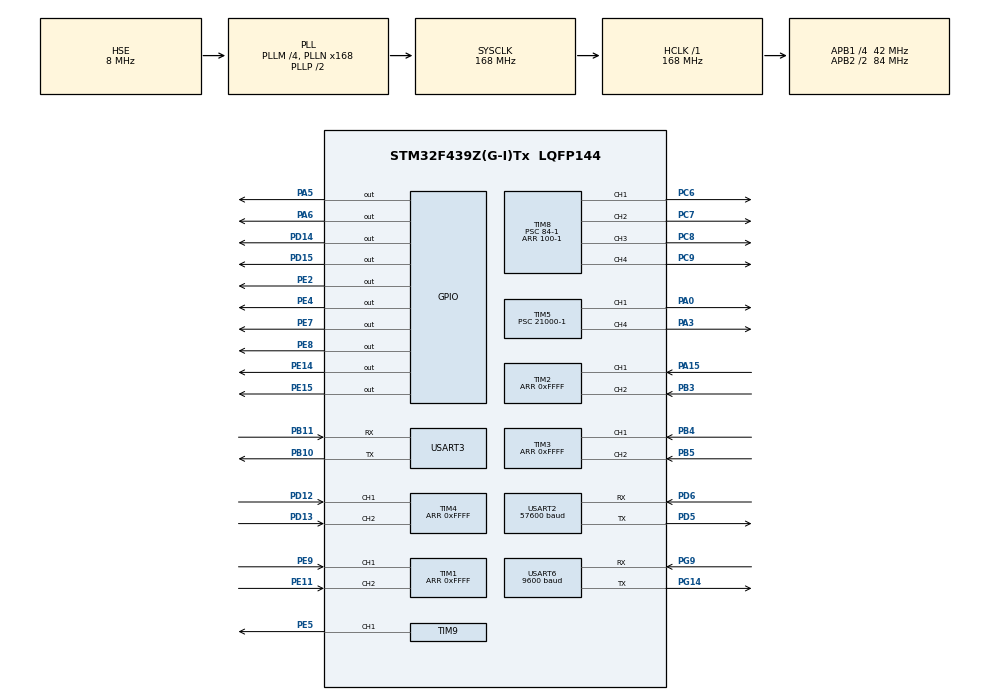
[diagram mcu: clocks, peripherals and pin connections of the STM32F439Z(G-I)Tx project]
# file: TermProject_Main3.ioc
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Mcu.Family=STM32F4
Mcu.Name=STM32F439Z(G-I)Tx
Mcu.Package=LQFP144
NVIC.PriorityGroup=NVIC_PRIORITYGROUP_4
NVIC.TIM1_BRK_TIM9_IRQn=true\:0\:0\:false\:true\:true\:2\:true\:true\:true
NVIC.TIM7_IRQn=true\:0\:0\:false\:true\:true\:5\:true\:true\:true
NVIC.USART2_IRQn=true\:0\:0\:false\:true\:true\:3\:true\:true\:true
NVIC.USART3_IRQn=true\:0\:0\:false\:true\:true\:4\:true\:true\:true
NVIC.USART6_IRQn=true\:0\:0\:false\:false\:true\:true\:true\:true
PA0/WKUP.Signal=S_TIM5_CH1
PA13.Mode=Serial_Wire
PA13.Signal=SYS_JTMS-SWDIO
PA14.Mode=Serial_Wire
PA14.Signal=SYS_JTCK-SWCLK
PA15.Signal=S_TIM2_CH1_ETR
PA3.Signal=S_TIM5_CH4
PA5.GPIO_Speed=GPIO_SPEED_FREQ_HIGH
PA5.Signal=GPIO_Output
PA6.GPIO_ModeDefaultOutputPP=GPIO_MODE_OUTPUT_PP
PA6.GPIO_PuPd=GPIO_NOPULL
PA6.GPIO_Speed=GPIO_SPEED_FREQ_HIGH
PA6.PinState=GPIO_PIN_RESET
PA6.Signal=GPIO_Output
PB10.Mode=Asynchronous
PB10.Signal=USART3_TX
PB11.Mode=Asynchronous
PB11.Signal=USART3_RX
PB3.Signal=S_TIM2_CH2
PB4.Signal=S_TIM3_CH1
PB5.Signal=S_TIM3_CH2
PC6.Signal=S_TIM8_CH1
PC7.Signal=S_TIM8_CH2
PC8.Signal=S_TIM8_CH3
PC9.Signal=S_TIM8_CH4
PD12.Signal=S_TIM4_CH1
PD13.Signal=S_TIM4_CH2
PD14.GPIO_ModeDefaultOutputPP=GPIO_MODE_OUTPUT_PP
PD14.GPIO_PuPd=GPIO_NOPULL
PD14.GPIO_Speed=GPIO_SPEED_FREQ_HIGH
PD14.PinState=GPIO_PIN_RESET
PD14.Signal=GPIO_Output
PD15.GPIO_ModeDefaultOutputPP=GPIO_MODE_OUTPUT_PP
PD15.GPIO_PuPd=GPIO_NOPULL
PD15.GPIO_Speed=GPIO_SPEED_FREQ_HIGH
PD15.PinState=GPIO_PIN_RESET
PD15.Signal=GPIO_Output
PD5.Mode=Asynchronous
PD5.Signal=USART2_TX
PD6.Mode=Asynchronous
PD6.Signal=USART2_RX
PE11.Signal=S_TIM1_CH2
PE14.GPIO_ModeDefaultOutputPP=GPIO_MODE_OUTPUT_PP
PE14.GPIO_PuPd=GPIO_NOPULL
PE14.GPIO_Speed=GPIO_SPEED_FREQ_HIGH
PE14.PinState=GPIO_PIN_RESET
PE14.Signal=GPIO_Output
PE15.GPIO_ModeDefaultOutputPP=GPIO_MODE_OUTPUT_PP
PE15.GPIO_PuPd=GPIO_NOPULL
PE15.GPIO_Speed=GPIO_SPEED_FREQ_HIGH
PE15.PinState=GPIO_PIN_RESET
PE15.Signal=GPIO_Output
PE2.GPIO_Speed=GPIO_SPEED_FREQ_HIGH
PE2.Signal=GPIO_Output
PE4.GPIO_Speed=GPIO_SPEED_FREQ_HIGH
PE4.Signal=GPIO_Output
PE5.Signal=S_TIM9_CH1
PE7.GPIO_ModeDefaultOutputPP=GPIO_MODE_OUTPUT_PP
PE7.GPIO_PuPd=GPIO_NOPULL
PE7.GPIO_Speed=GPIO_SPEED_FREQ_HIGH
PE7.PinState=GPIO_PIN_RESET
PE7.Signal=GPIO_Output
PE8.GPIO_ModeDefaultOutputPP=GPIO_MODE_OUTPUT_PP
PE8.GPIO_PuPd=GPIO_NOPULL
PE8.GPIO_Speed=GPIO_SPEED_FREQ_HIGH
PE8.PinState=GPIO_PIN_RESET
PE8.Signal=GPIO_Output
PE9.Signal=S_TIM1_CH1
PG14.Mode=Asynchronous
PG14.Signal=USART6_TX
PG9.Mode=Asynchronous
PG9.Signal=USART6_RX
PH0/OSC_IN.Mode=HSE-External-Clock-Source
PH0/OSC_IN.Signal=RCC_OSC_IN
PH1/OSC_OUT.Mode=HSE-External-Clock-Source
PH1/OSC_OUT.Signal=RCC_OSC_OUT
ProjectManager.HeapSize=0x200
ProjectManager.StackSize=0x400
ProjectManager.TargetToolchain=STM32CubeIDE
RCC.48MHZClocksFreq_Value=48000000
RCC.AHBFreq_Value=168000000
RCC.APB1CLKDivider=RCC_HCLK_DIV4
RCC.APB1Freq_Value=42000000
RCC.APB1TimFreq_Value=84000000
RCC.APB2CLKDivider=RCC_HCLK_DIV2
RCC.APB2Freq_Value=84000000
RCC.APB2TimCLKDivider=2
RCC.APB2TimFreq_Value=168000000
RCC.CortexFreq_Value=168000000
RCC.HCLKFreq_Value=168000000
RCC.HSE_VALUE=8000000
RCC.HSI_VALUE=16000000
RCC.LSE_VALUE=32768
RCC.PLLM=4
RCC.PLLMUL=RCC_PLL_MUL9
RCC.PLLN=168
RCC.PLLQ=7
RCC.PLLSourceVirtual=RCC_PLLSOURCE_HSE
RCC.PRESCALERUSB=RCC_USBCLKSOURCE_PLL_DIV1_5
RCC.SYSCLKFreq_VALUE=168000000
RCC.SYSCLKSource=RCC_SYSCLKSOURCE_PLLCLK
RCC.SYSCLKSourceVirtual=RCC_SYSCLKSOURCE_PLLCLK
RCC.USBFreq_Value=48000000
RCC.VCOOutputFreq_Value=336000000
SH.S_TIM1_CH1.0=TIM1_CH1,Encoder_Interface
SH.S_TIM1_CH2.0=TIM1_CH2,Encoder_Interface
SH.S_TIM2_CH1_ETR.0=TIM2_CH1,Encoder_Interface
SH.S_TIM2_CH2.0=TIM2_CH2,Encoder_Interface
SH.S_TIM3_CH1.0=TIM3_CH1,Encoder_Interface
SH.S_TIM3_CH2.0=TIM3_CH2,Encoder_Interface
SH.S_TIM4_CH1.0=TIM4_CH1,Encoder_Interface
SH.S_TIM4_CH2.0=TIM4_CH2,Encoder_Interface
SH.S_TIM5_CH1.0=TIM5_CH1,PWM Generation1 CH1
SH.S_TIM5_CH4.0=TIM5_CH4,PWM Generation4 CH4
SH.S_TIM8_CH1.0=TIM8_CH1,PWM Generation1 CH1
SH.S_TIM8_CH2.0=TIM8_CH2,PWM Generation2 CH2
SH.S_TIM8_CH3.0=TIM8_CH3,PWM Generation3 CH3
SH.S_TIM8_CH4.0=TIM8_CH4,PWM Generation4 CH4
SH.S_TIM9_CH1.0=TIM9_CH1,Output Compare1 CH1
TIM1.EncoderMode=TIM_ENCODERMODE_TI12
TIM1.Period=0xFFFF
TIM2.EncoderMode=TIM_ENCODERMODE_TI12
TIM2.Period=0xFFFF
TIM3.EncoderMode=TIM_ENCODERMODE_TI12
TIM3.Period=0xFFFF
TIM4.EncoderMode=TIM_ENCODERMODE_TI12
TIM4.Period=0xFFFF
TIM5.Channel-PWM\ Generation1\ CH1=TIM_CHANNEL_1
TIM5.Channel-PWM\ Generation4\ CH4=TIM_CHANNEL_4
TIM5.Period=80-1
TIM5.Prescaler=21000-1
TIM5.Pulse-PWM\ Generation1\ CH1=6
TIM5.Pulse-PWM\ Generation4\ CH4=6
TIM7.Period=1000-1
TIM7.Prescaler=84-1
TIM8.Channel-PWM\ Generation1\ CH1=TIM_CHANNEL_1
TIM8.Channel-PWM\ Generation2\ CH2=TIM_CHANNEL_2
TIM8.Channel-PWM\ Generation3\ CH3=TIM_CHANNEL_3
TIM8.Channel-PWM\ Generation4\ CH4=TIM_CHANNEL_4
TIM8.Period=100-1
TIM8.Prescaler=84-1
TIM9.Channel-Output\ Compare1\ CH1=TIM_CHANNEL_1
TIM9.OCMode_1=TIM_OCMODE_TOGGLE
TIM9.Period=180-1
TIM9.Prescaler=168-1
USART2.BaudRate=57600
USART2.VirtualMode=VM_ASYNC
USART3.VirtualMode=VM_ASYNC
USART6.BaudRate=9600
USART6.VirtualMode=VM_ASYNC
VP_TIM5_VS_ClockSourceINT.Mode=Internal
VP_TIM7_VS_ClockSourceINT.Mode=Enable_Timer
VP_TIM8_VS_ClockSourceINT.Mode=Internal
VP_TIM9_VS_ClockSourceINT.Mode=Internal
board=NUCLEO-F439ZI

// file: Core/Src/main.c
/* USER CODE BEGIN Header */
/**
  ******************************************************************************
  * @file           : main.c
  * @brief          : Main program body
  ******************************************************************************
  * @attention
  *
  * Copyright (c) 2025 STMicroelectronics.
  * All rights reserved.
  *
  * This software is licensed under terms that can be found in the LICENSE file
  * in the root directory of this software component.
  * If no LICENSE file comes with this software, it is provided AS-IS.
  *
  ******************************************************************************
  */
/* USER CODE END Header */
#include "main.h"

/* USER CODE BEGIN Includes */
#include "UART.h"
#include "B_MOTOR.h"
#include "STEP_MOTOR.h"
/* USER CODE END Includes */

TIM_HandleTypeDef htim1;
TIM_HandleTypeDef htim2;
TIM_HandleTypeDef htim3;
TIM_HandleTypeDef htim4;
TIM_HandleTypeDef htim5;
TIM_HandleTypeDef htim7;
TIM_HandleTypeDef htim8;
TIM_HandleTypeDef htim9;

UART_HandleTypeDef huart2;
UART_HandleTypeDef huart3;
UART_HandleTypeDef huart6;

/* USER CODE BEGIN PV */
uint8_t num = 0;
// 통신 변수 (1회성)
uint8_t temp = 1;
// 블루투스 통신 변수
uint8_t rxbuffer[20];
uint8_t txbuffer[200];

// 거리 센서 변수
uint8_t uart[9];		// 거리 센서 데이터
uint16_t dist;			// 현재 거리 값
uint16_t goaldist;	// 목표 거리 값
int32_t d_error;		// 현재 거리 - 목표 거리
int32_t ticks;			// 이동 엔코더 값
uint16_t strength;
uint8_t check;

/* USER CODE END PV */

void SystemClock_Config(void);
static void MX_GPIO_Init(void);
static void MX_TIM8_Init(void);
static void MX_TIM1_Init(void);
static void MX_TIM2_Init(void);
static void MX_TIM3_Init(void);
static void MX_TIM4_Init(void);
static void MX_TIM9_Init(void);
static void MX_TIM7_Init(void);
static void MX_USART3_UART_Init(void);
static void MX_USART2_UART_Init(void);
static void MX_TIM5_Init(void);
static void MX_USART6_UART_Init(void);
static void MX_NVIC_Init(void);
/* USER CODE BEGIN PFP */
void routine_move(bool encoder_use);
void routine_slide();
bool routine_wait_for_data(uint8_t data_size);

void HAL_TIM_PeriodElapsedCallback(TIM_HandleTypeDef *htim)
{
	if (htim->Instance == TIM7) {
		B_MOTOR_ReadEncoder();
		T_MOTOR_ReadEncoder();
	}
}

void HAL_TIM_OC_DelayElapsedCallback(TIM_HandleTypeDef *htim) {
	if (htim->Instance == TIM9) {
		slide.motor.current_steps++;  // 현재 스텝 증가

		if (slide.motor.current_steps >= slide.motor.total_steps) {
			STEP_MOTOR_STOP();       		// 목표 도달 → 모터 정지
		}
	}
}

void HAL_UART_RxCpltCallback(UART_HandleTypeDef *huart){
	// 블루투스 함ㅅ
	if (huart->Instance == USART6)
	{
		switch(rxbuffer[0]){
			case '0':
				sprintf((char *)txbuffer, "currentStep: %d\r\n", currentStep);
				HAL_UART_Transmit_IT(&huart6, (uint8_t *)txbuffer, strlen((char *)txbuffer));
				break;

			case '1':
				UART_Transmit_EPS32("2");	// 로봇 리프트 상층 중 신호 송신
				sprintf((char *)txbuffer, "send 2\r\n");
				HAL_UART_Transmit_IT(&huart6, (uint8_t *)txbuffer, strlen((char *)txbuffer));
				break;

			case '2':
				UART_Transmit_EPS32("3");	// 로봇 리프트 상층 중 신호 송신
				sprintf((char *)txbuffer, "send 3\r\n");
				HAL_UART_Transmit_IT(&huart6, (uint8_t *)txbuffer, strlen((char *)txbuffer));
				break;

			case '3':
				UART_Transmit_EPS32("4");	// 로봇 리프트 상층 중 신호 송신
				sprintf((char *)txbuffer, "send 4\r\n");
				HAL_UART_Transmit_IT(&huart6, (uint8_t *)txbuffer, strlen((char *)txbuffer));
				break;

			case '4':
				currentStep++;
				sprintf((char *)txbuffer, "next\r\n");
				HAL_UART_Transmit_IT(&huart6, (uint8_t *)txbuffer, strlen((char *)txbuffer));
				break;

			case '5':
				break;

			case '6':
				sprintf((char *)txbuffer, "dist: %3d\r\n", dist);
				HAL_UART_Transmit_IT(&huart6, (uint8_t *)txbuffer, strlen((char *)txbuffer));
				break;

			default:
				HAL_UART_Receive_IT(&huart6, rxbuffer, 3);
				break;
		}

		HAL_UART_Receive_IT(&huart6, rxbuffer, 3);
	}

	// 거리 센서 함수
	if (huart->Instance == USART3){
		if (uart[0] == 0x59 && uart[1] == 0x59){
			check = 0;
			for (int i=0; i<8; i++) check += uart[i];

			if (uart[8] == (check & 0xFF))
			{
				dist = uart[2] + (uart[3]<<8);
				strength = uart[4] + (uart[5]<<8);
			}
		}

		HAL_UART_Receive_IT(&huart3, uart, 9);
	}
}
/* USER CODE END PFP */

int main(void)
{

  /* MCU Configuration--------------------------------------------------------*/

  /* Reset of all peripherals, Initializes the Flash interface and the Systick. */
  HAL_Init();

  /* Configure the system clock */
  SystemClock_Config();

  /* Initialize all configured peripherals */
  MX_GPIO_Init();
  MX_TIM8_Init();
  MX_TIM1_Init();
  MX_TIM2_Init();
  MX_TIM3_Init();
  MX_TIM4_Init();
  MX_TIM9_Init();
  MX_TIM7_Init();
  MX_USART3_UART_Init();
  MX_USART2_UART_Init();
  MX_TIM5_Init();
  MX_USART6_UART_Init();

  /* Initialize interrupts */
  MX_NVIC_Init();
  /* USER CODE BEGIN 2 */

  HAL_UART_Receive_IT(&huart6, rxbuffer, 3);	// 블루투스 통신 시작
  HAL_UART_Receive_IT(&huart3, uart, 9);			// 거리 센서 시작

  HAL_TIM_Base_Start_IT(&htim7);	// 엔코더 카운터 타이머 시작

	// 이동 모터 타이머 초기화 및 변수 초기화
	B_MOTOR_Init();
	HAL_TIM_PWM_Start(&htim8, TIM_CHANNEL_1);
	HAL_TIM_PWM_Start(&htim8, TIM_CHANNEL_2);
	HAL_TIM_Encoder_Start(&htim1, TIM_CHANNEL_ALL);
	HAL_TIM_Encoder_Start(&htim2, TIM_CHANNEL_ALL);

  // 1차 슬라이드 (스텝 모터)
  STEP_MOTOR_HOLDOFF_OFF();

  // 2차 슬라이드 타이머 시작
  T_MOTOR_Init();
  HAL_TIM_PWM_Start(&htim8, TIM_CHANNEL_3);
  HAL_TIM_PWM_Start(&htim8, TIM_CHANNEL_4);
  HAL_TIM_Encoder_Start(&htim3, TIM_CHANNEL_ALL);
  HAL_TIM_Encoder_Start(&htim4, TIM_CHANNEL_ALL);

  // 슬라이드 그리퍼 (서보 모터)
	__HAL_TIM_SET_COMPARE(&htim5, TIM_CHANNEL_1, 6);
	__HAL_TIM_SET_COMPARE(&htim5, TIM_CHANNEL_4, 6);
  HAL_TIM_PWM_Start(&htim5, TIM_CHANNEL_1);
  HAL_TIM_PWM_Start(&htim5, TIM_CHANNEL_4);
  /* USER CODE END 2 */

  /* Infinite loop */
  /* USER CODE BEGIN WHILE */
  while (1)
  {
#if 1
    switch (currentStep) {
/* ******************************************************************************************************************* */
			case STEP_WAIT_FOR_COMMAND:
				// 최초 1회 실행
				if (temp == 1){
					memset(command, 0, COMMAND_MAX_SIZE+2);	// 통신 변수 초기화
					temp = 2;
				}

		    if (routine_wait_for_data(1)) {
		        UART_Command_Parse();

		        if (currentPosition.io_type == 0)	SERVO_DOWN();

		        currentStep = STEP_MOVE_INIT_TO_LIFT;
		    }

				break;
/* ******************************************************************************************************************* */
			case STEP_MOVE_INIT_TO_LIFT:
				// 최초 1회 실행
				if (temp == 2){
					goaldist = CELL_LIFT;
					if (currentPosition.floor == 1) temp = 4;
					else temp = 3;
				}

				routine_move(false);

				break;
/* ******************************************************************************************************************* */
			case STEP_WAIT_LIFT_UP:
				// 최초 1회 실행
				if (temp == 3){
					UART_Transmit_EPS32("2");	// 로봇 리프트 상층 중 신호 송신
					temp = 4;
				}

		    if (routine_wait_for_data(1)) {
		        currentStep = STEP_MOVE_LIFT_TO_SLOT;
		    }
				break;
/* ******************************************************************************************************************* */
			case STEP_MOVE_LIFT_TO_SLOT:
				// 최초 1회 실행
				if (temp == 4){
					if (currentPosition.cell == 1) goaldist = CELL_1;
					else if (currentPosition.cell == 2) goaldist = CELL_2;
					else if (currentPosition.cell == 3) goaldist = CELL_3;
					temp = 5;
				}

				routine_move(true);

				break;
/* ******************************************************************************************************************* */
			case STEP_PERFORM_SLIDE:
				// 최초 1회 실행
				if (temp == 5){
					temp = 6;
				}

				routine_slide();

				break;
/* ******************************************************************************************************************* */
			case STEP_MOVE_SLOT_TO_LIFT:
				// 최초 1회 실행
				if (temp == 6){
					goaldist = CELL_LIFT;
					if (currentPosition.floor == 1) temp = 8;
					else temp = 7;
				}

				routine_move(true);

				break;
/* ******************************************************************************************************************* */
			case STEP_WAIT_LIFT_DOWN:
				// 최초 1회 실행
				if (temp == 7){
					UART_Transmit_EPS32("3");	// 로봇 리프트 하강 중 신호 송신
					temp = 8;
				}

		    if (routine_wait_for_data(1)) {
		        currentStep = STEP_MOVE_LIFT_TO_INIT;
		    }

				break;
/* ******************************************************************************************************************* */
			case STEP_MOVE_LIFT_TO_INIT:
				// 최초 1회 실행
				if (temp == 8){
					goaldist = CELL_INIT;
					temp = 9;
				}

				routine_move(false);

				break;
/* ******************************************************************************************************************* */
			case STEP_OPERATION_COMPLETE:
				// 최초 1회 실행
				if (temp == 9){
					UART_Transmit_EPS32("4");	// 로봇 동작 확인 완료 신호 송신

					if (currentPosition.io_type == 1) SERVO_UP();
					temp = 1;
				}

        currentStep = STEP_WAIT_FOR_COMMAND;

				break;
/* ******************************************************************************************************************* */
			case STEP_OPERATION_INCOMPLETE:
				// 최초 1회 실행
				if (temp == 9){
					temp = 1;
				}

        currentStep = STEP_WAIT_FOR_COMMAND;

				break;
/* ******************************************************************************************************************* */
    }
    HAL_Delay(10);
#endif
    /* USER CODE END WHILE */

  }
}

void SystemClock_Config(void)
{
  RCC_OscInitTypeDef RCC_OscInitStruct = {0};
  RCC_ClkInitTypeDef RCC_ClkInitStruct = {0};

  /** Configure the main internal regulator output voltage
  */
  __HAL_RCC_PWR_CLK_ENABLE();
  __HAL_PWR_VOLTAGESCALING_CONFIG(PWR_REGULATOR_VOLTAGE_SCALE1);

  /** Initializes the RCC Oscillators according to the specified parameters
  * in the RCC_OscInitTypeDef structure.
  */
  RCC_OscInitStruct.OscillatorType = RCC_OSCILLATORTYPE_HSE;
  RCC_OscInitStruct.HSEState = RCC_HSE_BYPASS;
  RCC_OscInitStruct.PLL.PLLState = RCC_PLL_ON;
  RCC_OscInitStruct.PLL.PLLSource = RCC_PLLSOURCE_HSE;
  RCC_OscInitStruct.PLL.PLLM = 4;
  RCC_OscInitStruct.PLL.PLLN = 168;
  RCC_OscInitStruct.PLL.PLLP = RCC_PLLP_DIV2;
  RCC_OscInitStruct.PLL.PLLQ = 7;
  if (HAL_RCC_OscConfig(&RCC_OscInitStruct) != HAL_OK)
  {
    Error_Handler();
  }

  /** Initializes the CPU, AHB and APB buses clocks
  */
  RCC_ClkInitStruct.ClockType = RCC_CLOCKTYPE_HCLK|RCC_CLOCKTYPE_SYSCLK
                              |RCC_CLOCKTYPE_PCLK1|RCC_CLOCKTYPE_PCLK2;
  RCC_ClkInitStruct.SYSCLKSource = RCC_SYSCLKSOURCE_PLLCLK;
  RCC_ClkInitStruct.AHBCLKDivider = RCC_SYSCLK_DIV1;
  RCC_ClkInitStruct.APB1CLKDivider = RCC_HCLK_DIV4;
  RCC_ClkInitStruct.APB2CLKDivider = RCC_HCLK_DIV2;

  if (HAL_RCC_ClockConfig(&RCC_ClkInitStruct, FLASH_LATENCY_5) != HAL_OK)
  {
    Error_Handler();
  }
}

/**
  * @brief NVIC Configuration.
  * @retval None
  */
static void MX_NVIC_Init(void)
{
  /* TIM1_BRK_TIM9_IRQn interrupt configuration */
  HAL_NVIC_SetPriority(TIM1_BRK_TIM9_IRQn, 0, 0);
  HAL_NVIC_EnableIRQ(TIM1_BRK_TIM9_IRQn);
  /* USART2_IRQn interrupt configuration */
  HAL_NVIC_SetPriority(USART2_IRQn, 0, 0);
  HAL_NVIC_EnableIRQ(USART2_IRQn);
  /* USART3_IRQn interrupt configuration */
  HAL_NVIC_SetPriority(USART3_IRQn, 0, 0);
  HAL_NVIC_EnableIRQ(USART3_IRQn);
  /* TIM7_IRQn interrupt configuration */
  HAL_NVIC_SetPriority(TIM7_IRQn, 0, 0);
  HAL_NVIC_EnableIRQ(TIM7_IRQn);
}

static void MX_TIM1_Init(void)
{

  TIM_Encoder_InitTypeDef sConfig = {0};
  TIM_MasterConfigTypeDef sMasterConfig = {0};

  htim1.Instance = TIM1;
  htim1.Init.Prescaler = 0;
  htim1.Init.CounterMode = TIM_COUNTERMODE_UP;
  htim1.Init.Period = 0xFFFF;
  htim1.Init.ClockDivision = TIM_CLOCKDIVISION_DIV1;
  htim1.Init.RepetitionCounter = 0;
  htim1.Init.AutoReloadPreload = TIM_AUTORELOAD_PRELOAD_DISABLE;
  sConfig.EncoderMode = TIM_ENCODERMODE_TI12;
  sConfig.IC1Polarity = TIM_ICPOLARITY_RISING;
  sConfig.IC1Selection = TIM_ICSELECTION_DIRECTTI;
  sConfig.IC1Prescaler = TIM_ICPSC_DIV1;
  sConfig.IC1Filter = 0;
  sConfig.IC2Polarity = TIM_ICPOLARITY_RISING;
  sConfig.IC2Selection = TIM_ICSELECTION_DIRECTTI;
  sConfig.IC2Prescaler = TIM_ICPSC_DIV1;
  sConfig.IC2Filter = 0;
  if (HAL_TIM_Encoder_Init(&htim1, &sConfig) != HAL_OK)
  {
    Error_Handler();
  }
  sMasterConfig.MasterOutputTrigger = TIM_TRGO_RESET;
  sMasterConfig.MasterSlaveMode = TIM_MASTERSLAVEMODE_DISABLE;
  if (HAL_TIMEx_MasterConfigSynchronization(&htim1, &sMasterConfig) != HAL_OK)
  {
    Error_Handler();
  }

}

static void MX_TIM2_Init(void)
{

  TIM_Encoder_InitTypeDef sConfig = {0};
  TIM_MasterConfigTypeDef sMasterConfig = {0};

  htim2.Instance = TIM2;
  htim2.Init.Prescaler = 0;
  htim2.Init.CounterMode = TIM_COUNTERMODE_UP;
  htim2.Init.Period = 0xFFFF;
  htim2.Init.ClockDivision = TIM_CLOCKDIVISION_DIV1;
  htim2.Init.AutoReloadPreload = TIM_AUTORELOAD_PRELOAD_DISABLE;
  sConfig.EncoderMode = TIM_ENCODERMODE_TI12;
  sConfig.IC1Polarity = TIM_ICPOLARITY_RISING;
  sConfig.IC1Selection = TIM_ICSELECTION_DIRECTTI;
  sConfig.IC1Prescaler = TIM_ICPSC_DIV1;
  sConfig.IC1Filter = 0;
  sConfig.IC2Polarity = TIM_ICPOLARITY_RISING;
  sConfig.IC2Selection = TIM_ICSELECTION_DIRECTTI;
  sConfig.IC2Prescaler = TIM_ICPSC_DIV1;
  sConfig.IC2Filter = 0;
  if (HAL_TIM_Encoder_Init(&htim2, &sConfig) != HAL_OK)
  {
    Error_Handler();
  }
  sMasterConfig.MasterOutputTrigger = TIM_TRGO_RESET;
  sMasterConfig.MasterSlaveMode = TIM_MASTERSLAVEMODE_DISABLE;
  if (HAL_TIMEx_MasterConfigSynchronization(&htim2, &sMasterConfig) != HAL_OK)
  {
    Error_Handler();
  }

}

static void MX_TIM3_Init(void)
{

  TIM_Encoder_InitTypeDef sConfig = {0};
  TIM_MasterConfigTypeDef sMasterConfig = {0};

  htim3.Instance = TIM3;
  htim3.Init.Prescaler = 0;
  htim3.Init.CounterMode = TIM_COUNTERMODE_UP;
  htim3.Init.Period = 0xFFFF;
  htim3.Init.ClockDivision = TIM_CLOCKDIVISION_DIV1;
  htim3.Init.AutoReloadPreload = TIM_AUTORELOAD_PRELOAD_DISABLE;
  sConfig.EncoderMode = TIM_ENCODERMODE_TI12;
  sConfig.IC1Polarity = TIM_ICPOLARITY_RISING;
  sConfig.IC1Selection = TIM_ICSELECTION_DIRECTTI;
  sConfig.IC1Prescaler = TIM_ICPSC_DIV1;
  sConfig.IC1Filter = 0;
  sConfig.IC2Polarity = TIM_ICPOLARITY_RISING;
  sConfig.IC2Selection = TIM_ICSELECTION_DIRECTTI;
  sConfig.IC2Prescaler = TIM_ICPSC_DIV1;
  sConfig.IC2Filter = 0;
  if (HAL_TIM_Encoder_Init(&htim3, &sConfig) != HAL_OK)
  {
    Error_Handler();
  }
  sMasterConfig.MasterOutputTrigger = TIM_TRGO_RESET;
  sMasterConfig.MasterSlaveMode = TIM_MASTERSLAVEMODE_DISABLE;
  if (HAL_TIMEx_MasterConfigSynchronization(&htim3, &sMasterConfig) != HAL_OK)
  {
    Error_Handler();
  }

}

static void MX_TIM4_Init(void)
{

  TIM_Encoder_InitTypeDef sConfig = {0};
  TIM_MasterConfigTypeDef sMasterConfig = {0};

  htim4.Instance = TIM4;
  htim4.Init.Prescaler = 0;
  htim4.Init.CounterMode = TIM_COUNTERMODE_UP;
  htim4.Init.Period = 0xFFFF;
  htim4.Init.ClockDivision = TIM_CLOCKDIVISION_DIV1;
  htim4.Init.AutoReloadPreload = TIM_AUTORELOAD_PRELOAD_DISABLE;
  sConfig.EncoderMode = TIM_ENCODERMODE_TI12;
  sConfig.IC1Polarity = TIM_ICPOLARITY_RISING;
  sConfig.IC1Selection = TIM_ICSELECTION_DIRECTTI;
  sConfig.IC1Prescaler = TIM_ICPSC_DIV1;
  sConfig.IC1Filter = 0;
  sConfig.IC2Polarity = TIM_ICPOLARITY_RISING;
  sConfig.IC2Selection = TIM_ICSELECTION_DIRECTTI;
  sConfig.IC2Prescaler = TIM_ICPSC_DIV1;
  sConfig.IC2Filter = 0;
  if (HAL_TIM_Encoder_Init(&htim4, &sConfig) != HAL_OK)
  {
    Error_Handler();
  }
  sMasterConfig.MasterOutputTrigger = TIM_TRGO_RESET;
  sMasterConfig.MasterSlaveMode = TIM_MASTERSLAVEMODE_DISABLE;
  if (HAL_TIMEx_MasterConfigSynchronization(&htim4, &sMasterConfig) != HAL_OK)
  {
    Error_Handler();
  }

}

static void MX_TIM5_Init(void)
{

  TIM_ClockConfigTypeDef sClockSourceConfig = {0};
  TIM_MasterConfigTypeDef sMasterConfig = {0};
  TIM_OC_InitTypeDef sConfigOC = {0};

  htim5.Instance = TIM5;
  htim5.Init.Prescaler = 21000-1;
  htim5.Init.CounterMode = TIM_COUNTERMODE_UP;
  htim5.Init.Period = 80-1;
  htim5.Init.ClockDivision = TIM_CLOCKDIVISION_DIV1;
  htim5.Init.AutoReloadPreload = TIM_AUTORELOAD_PRELOAD_DISABLE;
  if (HAL_TIM_Base_Init(&htim5) != HAL_OK)
  {
    Error_Handler();
  }
  sClockSourceConfig.ClockSource = TIM_CLOCKSOURCE_INTERNAL;
  if (HAL_TIM_ConfigClockSource(&htim5, &sClockSourceConfig) != HAL_OK)
  {
    Error_Handler();
  }
  if (HAL_TIM_PWM_Init(&htim5) != HAL_OK)
  {
    Error_Handler();
  }
  sMasterConfig.MasterOutputTrigger = TIM_TRGO_RESET;
  sMasterConfig.MasterSlaveMode = TIM_MASTERSLAVEMODE_DISABLE;
  if (HAL_TIMEx_MasterConfigSynchronization(&htim5, &sMasterConfig) != HAL_OK)
  {
    Error_Handler();
  }
  sConfigOC.OCMode = TIM_OCMODE_PWM1;
  sConfigOC.Pulse = 6;
  sConfigOC.OCPolarity = TIM_OCPOLARITY_HIGH;
  sConfigOC.OCFastMode = TIM_OCFAST_DISABLE;
  if (HAL_TIM_PWM_ConfigChannel(&htim5, &sConfigOC, TIM_CHANNEL_1) != HAL_OK)
  {
    Error_Handler();
  }
  if (HAL_TIM_PWM_ConfigChannel(&htim5, &sConfigOC, TIM_CHANNEL_4) != HAL_OK)
  {
    Error_Handler();
  }
  HAL_TIM_MspPostInit(&htim5);

}

static void MX_TIM7_Init(void)
{

  TIM_MasterConfigTypeDef sMasterConfig = {0};

  htim7.Instance = TIM7;
  htim7.Init.Prescaler = 84-1;
  htim7.Init.CounterMode = TIM_COUNTERMODE_UP;
  htim7.Init.Period = 1000-1;
  htim7.Init.AutoReloadPreload = TIM_AUTORELOAD_PRELOAD_DISABLE;
  if (HAL_TIM_Base_Init(&htim7) != HAL_OK)
  {
    Error_Handler();
  }
  sMasterConfig.MasterOutputTrigger = TIM_TRGO_RESET;
  sMasterConfig.MasterSlaveMode = TIM_MASTERSLAVEMODE_DISABLE;
  if (HAL_TIMEx_MasterConfigSynchronization(&htim7, &sMasterConfig) != HAL_OK)
  {
    Error_Handler();
  }

}

static void MX_TIM8_Init(void)
{

  TIM_ClockConfigTypeDef sClockSourceConfig = {0};
  TIM_MasterConfigTypeDef sMasterConfig = {0};
  TIM_OC_InitTypeDef sConfigOC = {0};
  TIM_BreakDeadTimeConfigTypeDef sBreakDeadTimeConfig = {0};

  htim8.Instance = TIM8;
  htim8.Init.Prescaler = 84-1;
  htim8.Init.CounterMode = TIM_COUNTERMODE_UP;
  htim8.Init.Period = 100-1;
  htim8.Init.ClockDivision = TIM_CLOCKDIVISION_DIV1;
  htim8.Init.RepetitionCounter = 0;
  htim8.Init.AutoReloadPreload = TIM_AUTORELOAD_PRELOAD_DISABLE;
  if (HAL_TIM_Base_Init(&htim8) != HAL_OK)
  {
    Error_Handler();
  }
  sClockSourceConfig.ClockSource = TIM_CLOCKSOURCE_INTERNAL;
  if (HAL_TIM_ConfigClockSource(&htim8, &sClockSourceConfig) != HAL_OK)
  {
    Error_Handler();
  }
  if (HAL_TIM_PWM_Init(&htim8) != HAL_OK)
  {
    Error_Handler();
  }
  sMasterConfig.MasterOutputTrigger = TIM_TRGO_RESET;
  sMasterConfig.MasterSlaveMode = TIM_MASTERSLAVEMODE_DISABLE;
  if (HAL_TIMEx_MasterConfigSynchronization(&htim8, &sMasterConfig) != HAL_OK)
  {
    Error_Handler();
  }
  sConfigOC.OCMode = TIM_OCMODE_PWM1;
  sConfigOC.Pulse = 0;
  sConfigOC.OCPolarity = TIM_OCPOLARITY_HIGH;
  sConfigOC.OCNPolarity = TIM_OCNPOLARITY_HIGH;
  sConfigOC.OCFastMode = TIM_OCFAST_DISABLE;
  sConfigOC.OCIdleState = TIM_OCIDLESTATE_RESET;
  sConfigOC.OCNIdleState = TIM_OCNIDLESTATE_RESET;
  if (HAL_TIM_PWM_ConfigChannel(&htim8, &sConfigOC, TIM_CHANNEL_1) != HAL_OK)
  {
    Error_Handler();
  }
  if (HAL_TIM_PWM_ConfigChannel(&htim8, &sConfigOC, TIM_CHANNEL_2) != HAL_OK)
  {
    Error_Handler();
  }
  if (HAL_TIM_PWM_ConfigChannel(&htim8, &sConfigOC, TIM_CHANNEL_3) != HAL_OK)
  {
    Error_Handler();
  }
  if (HAL_TIM_PWM_ConfigChannel(&htim8, &sConfigOC, TIM_CHANNEL_4) != HAL_OK)
  {
    Error_Handler();
  }
  sBreakDeadTimeConfig.OffStateRunMode = TIM_OSSR_DISABLE;
  sBreakDeadTimeConfig.OffStateIDLEMode = TIM_OSSI_DISABLE;
  sBreakDeadTimeConfig.LockLevel = TIM_LOCKLEVEL_OFF;
  sBreakDeadTimeConfig.DeadTime = 0;
  sBreakDeadTimeConfig.BreakState = TIM_BREAK_DISABLE;
  sBreakDeadTimeConfig.BreakPolarity = TIM_BREAKPOLARITY_HIGH;
  sBreakDeadTimeConfig.AutomaticOutput = TIM_AUTOMATICOUTPUT_DISABLE;
  if (HAL_TIMEx_ConfigBreakDeadTime(&htim8, &sBreakDeadTimeConfig) != HAL_OK)
  {
    Error_Handler();
  }
  HAL_TIM_MspPostInit(&htim8);

}

static void MX_TIM9_Init(void)
{

  TIM_ClockConfigTypeDef sClockSourceConfig = {0};
  TIM_OC_InitTypeDef sConfigOC = {0};

  htim9.Instance = TIM9;
  htim9.Init.Prescaler = 168-1;
  htim9.Init.CounterMode = TIM_COUNTERMODE_UP;
  htim9.Init.Period = 180-1;
  htim9.Init.ClockDivision = TIM_CLOCKDIVISION_DIV1;
  htim9.Init.AutoReloadPreload = TIM_AUTORELOAD_PRELOAD_DISABLE;
  if (HAL_TIM_Base_Init(&htim9) != HAL_OK)
  {
    Error_Handler();
  }
  sClockSourceConfig.ClockSource = TIM_CLOCKSOURCE_INTERNAL;
  if (HAL_TIM_ConfigClockSource(&htim9, &sClockSourceConfig) != HAL_OK)
  {
    Error_Handler();
  }
  if (HAL_TIM_OC_Init(&htim9) != HAL_OK)
  {
    Error_Handler();
  }
  sConfigOC.OCMode = TIM_OCMODE_TOGGLE;
  sConfigOC.Pulse = 0;
  sConfigOC.OCPolarity = TIM_OCPOLARITY_HIGH;
  sConfigOC.OCFastMode = TIM_OCFAST_DISABLE;
  if (HAL_TIM_OC_ConfigChannel(&htim9, &sConfigOC, TIM_CHANNEL_1) != HAL_OK)
  {
    Error_Handler();
  }
  HAL_TIM_MspPostInit(&htim9);

}

static void MX_USART2_UART_Init(void)
{

  huart2.Instance = USART2;
  huart2.Init.BaudRate = 57600;
  huart2.Init.WordLength = UART_WORDLENGTH_8B;
  huart2.Init.StopBits = UART_STOPBITS_1;
  huart2.Init.Parity = UART_PARITY_NONE;
  huart2.Init.Mode = UART_MODE_TX_RX;
  huart2.Init.HwFlowCtl = UART_HWCONTROL_NONE;
  huart2.Init.OverSampling = UART_OVERSAMPLING_16;
  if (HAL_UART_Init(&huart2) != HAL_OK)
  {
    Error_Handler();
  }

}

static void MX_USART3_UART_Init(void)
{

  huart3.Instance = USART3;
  huart3.Init.BaudRate = 115200;
  huart3.Init.WordLength = UART_WORDLENGTH_8B;
  huart3.Init.StopBits = UART_STOPBITS_1;
  huart3.Init.Parity = UART_PARITY_NONE;
  huart3.Init.Mode = UART_MODE_TX_RX;
  huart3.Init.HwFlowCtl = UART_HWCONTROL_NONE;
  huart3.Init.OverSampling = UART_OVERSAMPLING_16;
  if (HAL_UART_Init(&huart3) != HAL_OK)
  {
    Error_Handler();
  }

}

static void MX_USART6_UART_Init(void)
{

  huart6.Instance = USART6;
  huart6.Init.BaudRate = 9600;
  huart6.Init.WordLength = UART_WORDLENGTH_8B;
  huart6.Init.StopBits = UART_STOPBITS_1;
  huart6.Init.Parity = UART_PARITY_NONE;
  huart6.Init.Mode = UART_MODE_TX_RX;
  huart6.Init.HwFlowCtl = UART_HWCONTROL_NONE;
  huart6.Init.OverSampling = UART_OVERSAMPLING_16;
  if (HAL_UART_Init(&huart6) != HAL_OK)
  {
    Error_Handler();
  }

}

static void MX_GPIO_Init(void)
{
  GPIO_InitTypeDef GPIO_InitStruct = {0};

  /* GPIO Ports Clock Enable */
  __HAL_RCC_GPIOE_CLK_ENABLE();
  __HAL_RCC_GPIOH_CLK_ENABLE();
  __HAL_RCC_GPIOA_CLK_ENABLE();
  __HAL_RCC_GPIOB_CLK_ENABLE();
  __HAL_RCC_GPIOD_CLK_ENABLE();
  __HAL_RCC_GPIOC_CLK_ENABLE();
  __HAL_RCC_GPIOG_CLK_ENABLE();

  /*Configure GPIO pin Output Level */
  HAL_GPIO_WritePin(GPIOE, GPIO_PIN_2|GPIO_PIN_4|GPIO_PIN_7|GPIO_PIN_8
                          |GPIO_PIN_14|GPIO_PIN_15, GPIO_PIN_RESET);

  /*Configure GPIO pin Output Level */
  HAL_GPIO_WritePin(GPIOA, GPIO_PIN_5|GPIO_PIN_6, GPIO_PIN_RESET);

  /*Configure GPIO pin Output Level */
  HAL_GPIO_WritePin(GPIOD, GPIO_PIN_14|GPIO_PIN_15, GPIO_PIN_RESET);

  /*Configure GPIO pins : PE2 PE4 PE7 PE8
                           PE14 PE15 */
  GPIO_InitStruct.Pin = GPIO_PIN_2|GPIO_PIN_4|GPIO_PIN_7|GPIO_PIN_8
                          |GPIO_PIN_14|GPIO_PIN_15;
  GPIO_InitStruct.Mode = GPIO_MODE_OUTPUT_PP;
  GPIO_InitStruct.Pull = GPIO_NOPULL;
  GPIO_InitStruct.Speed = GPIO_SPEED_FREQ_HIGH;
  HAL_GPIO_Init(GPIOE, &GPIO_InitStruct);

  /*Configure GPIO pins : PA5 PA6 */
  GPIO_InitStruct.Pin = GPIO_PIN_5|GPIO_PIN_6;
  GPIO_InitStruct.Mode = GPIO_MODE_OUTPUT_PP;
  GPIO_InitStruct.Pull = GPIO_NOPULL;
  GPIO_InitStruct.Speed = GPIO_SPEED_FREQ_HIGH;
  HAL_GPIO_Init(GPIOA, &GPIO_InitStruct);

  /*Configure GPIO pins : PD14 PD15 */
  GPIO_InitStruct.Pin = GPIO_PIN_14|GPIO_PIN_15;
  GPIO_InitStruct.Mode = GPIO_MODE_OUTPUT_PP;
  GPIO_InitStruct.Pull = GPIO_NOPULL;
  GPIO_InitStruct.Speed = GPIO_SPEED_FREQ_HIGH;
  HAL_GPIO_Init(GPIOD, &GPIO_InitStruct);

}

/* USER CODE BEGIN 4 */
/* ******************************************************************************************************************* */
bool routine_wait_for_data(uint8_t data_size)
{
  UART_Receive_ESP32();                     				// 데이터 수신 대기
  num++;
  UART_Command_Vaildate(data_size, currentStep);    // 유효성 검사

  if (Rx_flag) {
      Rx_flag = false;                    				  // 수신 플래그 초기화
      return true;
  }
  return false;
}

void routine_move(bool use_encoder)
{
  switch (robot_state) {
/* ******************************************************************************************************************* */
      case ROBOT_STATE_INIT:

      	HAL_Delay(10);
      	B_MOTOR_Init();

      	robot_state = ROBOT_STATE_DISTANCE_CALC;
        break;

/* ******************************************************************************************************************* */
      case ROBOT_STATE_DISTANCE_CALC:

				d_error = dist - goaldist;
				ticks = ENCODER_COUNTS_PER_CM * ((abs(d_error)-10));

      	robot_state = ROBOT_STATE_MOTOR_START;
        break;

/* ******************************************************************************************************************* */
      case ROBOT_STATE_MOTOR_START:

				if (use_encoder) {
					if (d_error >= 0) {
						L_B_Motor.PID.Target32 = -ticks;
						R_B_Motor.PID.Target32 = ticks;
						B_MOTOR_L_DIR_CCW();
						B_MOTOR_R_DIR_CW();
						HAL_Delay(10);
					}
					else {
						L_B_Motor.PID.Target32 = ticks;
						R_B_Motor.PID.Target32 = -ticks;
						B_MOTOR_L_DIR_CW();
						B_MOTOR_R_DIR_CCW();
						HAL_Delay(10);
					}

					robot_state = ROBOT_STATE_ENCODER_APPROACH;
				}
				else{
					if (d_error >= 0) {
						B_MOTOR_L_DIR_CCW();
						B_MOTOR_R_DIR_CW();
						HAL_Delay(10);
					}
					else{
						B_MOTOR_L_DIR_CW();
						B_MOTOR_R_DIR_CCW();
						HAL_Delay(10);
					}

					B_MOTOR_SETPWM(&L_B_Motor, L_B_PWM_MIN);
					B_MOTOR_SETPWM(&R_B_Motor, R_B_PWM_MIN);

					robot_state = ROBOT_STATE_SENSOR_APPROACH;
				}

				B_MOTOR_L_ENABLE();
				B_MOTOR_R_ENABLE();

				break;

/* ******************************************************************************************************************* */
      case ROBOT_STATE_ENCODER_APPROACH:

      	B_MOTOR_PidControl();	// PID 제어 반복

      	if (L_B_Motor.flag && R_B_Motor.flag){
      		HAL_Delay(200);
      		robot_state = ROBOT_STATE_SENSOR_APPROACH;
      	}

				break;

/* ******************************************************************************************************************* */
      case ROBOT_STATE_SENSOR_APPROACH:

				B_MOTOR_L_ENABLE();
				B_MOTOR_R_ENABLE();

      	if (abs(dist - goaldist) <= 1){
					B_MOTOR_L_DISABLE();
					B_MOTOR_R_DISABLE();
					robot_state = ROBOT_STATE_DONE;
      	}

				break;

/* ******************************************************************************************************************* */
      case ROBOT_STATE_DONE:

      	robot_state = ROBOT_STATE_INIT;

      	if (currentStep == STEP_MOVE_INIT_TO_LIFT) {
      		if (currentPosition.floor == 1) currentStep = STEP_MOVE_LIFT_TO_SLOT;
      		else currentStep = STEP_WAIT_LIFT_UP;
      	}
      	else if (currentStep == STEP_MOVE_LIFT_TO_SLOT)	{
      		currentStep = STEP_PERFORM_SLIDE;
      	}
      	else if (currentStep == STEP_MOVE_SLOT_TO_LIFT) {
      		if (currentPosition.floor == 1) currentStep = STEP_MOVE_LIFT_TO_INIT;
      		else currentStep = STEP_WAIT_LIFT_DOWN;
      	}
      	else if (currentStep == STEP_MOVE_LIFT_TO_INIT) {
      		currentStep = STEP_OPERATION_COMPLETE;
      	}

      	HAL_Delay(100);
				break;
/* ******************************************************************************************************************* */
  }
}

void routine_slide()
{
  switch (slide_state) {
/* ******************************************************************************************************************* */
      case SLIDE_STATE_INIT:

      	HAL_Delay(10);

      	if (currentPosition.io_type == 0) {
      		slide.mode = SLIDE_MODE_IN;
      	} else {
      		slide.mode = SLIDE_MODE_OUT;
      	}
      	if (currentPosition.side == 0) {
      		slide.direction = SLIDE_DIR_LEFT;
      	} else {
      		slide.direction = SLIDE_DIR_RIGHT;
      	}

      	T_MOTOR_Init();
      	__HAL_TIM_SET_COMPARE(&htim8, TIM_CHANNEL_3, 60);
      	__HAL_TIM_SET_COMPARE(&htim8, TIM_CHANNEL_4, 10);

  			L_T_Motor.PID.Target32 = 6000;	// 6000
  			R_T_Motor.PID.Target32 = 6500;	// 6500

      	slide_state = SLIDE_STATE_MOVE_FORWARD;
        break;

/* ******************************************************************************************************************* */
      case SLIDE_STATE_MOVE_FORWARD:

        if (slide.direction == SLIDE_DIR_LEFT)
        {
					T_MOTOR_L_DIR_CW();
          STEP_MOTOR_DIR_CW();
					HAL_Delay(10);
    			T_MOTOR_L_ENABLE();
					T_MOTOR_R_DIR_CCW();
          STEP_MOTOR_START();
        }
        else if (slide.direction == SLIDE_DIR_RIGHT)
        {
        	T_MOTOR_L_DIR_CCW();
          STEP_MOTOR_DIR_CCW();
          HAL_Delay(10);
    			T_MOTOR_L_ENABLE();
					T_MOTOR_R_DIR_CW();
          STEP_MOTOR_START();
        }

      	slide_state = SLIDE_STATE_WAIT_FORWARD_DONE;
        break;

/* ******************************************************************************************************************* */
      case SLIDE_STATE_WAIT_FORWARD_DONE:

        T_MOTOR_Control();

        if (slide.motor.step_flag && L_T_Motor.flag && R_T_Motor.flag){
        	slide_state = SLIDE_STATE_SERVO_ACTION;
        }
				break;

/* ******************************************************************************************************************* */
      case SLIDE_STATE_SERVO_ACTION:

      	HAL_Delay(500);

        if (slide.mode == SLIDE_MODE_IN)
          SERVO_UP();
        else if (slide.mode == SLIDE_MODE_OUT)
          SERVO_DOWN();

        HAL_Delay(500);

      	slide_state = SLIDE_STATE_MOVE_BACKWARD;
				break;

/* ******************************************************************************************************************* */
      case SLIDE_STATE_MOVE_BACKWARD:

      	T_MOTOR_Init();
      	__HAL_TIM_SET_COMPARE(&htim8, TIM_CHANNEL_3, 60);
      	__HAL_TIM_SET_COMPARE(&htim8, TIM_CHANNEL_4, 10);

        if (slide.direction == SLIDE_DIR_LEFT)
        {
					T_MOTOR_L_DIR_CCW();
          STEP_MOTOR_DIR_CCW();
					HAL_Delay(10);
    			T_MOTOR_L_ENABLE();
					T_MOTOR_R_DIR_CW();
          STEP_MOTOR_START();
        }
        else if (slide.direction == SLIDE_DIR_RIGHT)
        {
					T_MOTOR_L_DIR_CW();
          STEP_MOTOR_DIR_CW();
					HAL_Delay(10);
    			T_MOTOR_L_ENABLE();
					T_MOTOR_R_DIR_CCW();
          STEP_MOTOR_START();
        }

      	slide_state = SLIDE_STATE_WAIT_BACKWARD_DONE;
				break;

/* ******************************************************************************************************************* */
      case SLIDE_STATE_WAIT_BACKWARD_DONE:

        T_MOTOR_Control();

        if (slide.motor.step_flag && L_T_Motor.flag && R_T_Motor.flag){
        	slide_state = SLIDE_STATE_DONE;
        }
				break;
/* ******************************************************************************************************************* */
			case SLIDE_STATE_DONE:

				slide_state = SLIDE_STATE_INIT;
				currentStep = STEP_MOVE_SLOT_TO_LIFT;

				HAL_Delay(100);
				break;
/* ******************************************************************************************************************* */
  }
}
/* USER CODE END 4 */

void Error_Handler(void)
{
  __disable_irq();
  while (1)
  {
  }
}
